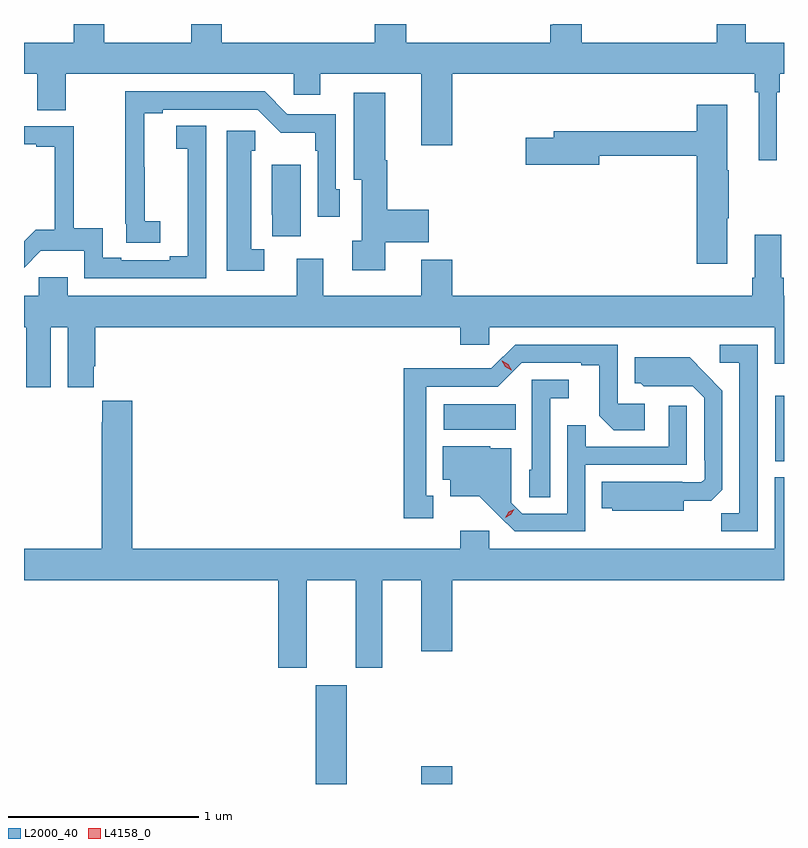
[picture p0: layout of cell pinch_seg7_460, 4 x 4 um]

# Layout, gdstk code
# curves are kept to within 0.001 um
import gdstk
lib = gdstk.Library(unit=1e-6, precision=1e-09)
def R(c, l, rs):  # rectangles x0, y0, x1, y1
    for r in rs: c.add(gdstk.rectangle(r[:2], r[2:], *l))
def P(c, l, *ps):  # polygons
    for p in ps: c.add(gdstk.Polygon(p, *l))
L2000_40 = (2000, 40)
L4158_0 = (4158, 0)

pinch_seg7_460 = lib.new_cell('pinch_seg7_460')
R(pinch_seg7_460, L2000_40, [(176.441,1067.475,176.605,1067.995), (176.996,1067.475,177.16,1067.569), (178.859,1069.175,178.906,1069.519), (177.114,1069.34,177.494,1069.474)])
P(pinch_seg7_460, L2000_40, [(178.753,1071.116),(178.772,1071.116),(178.772,1070.757),(178.869,1070.757),(178.869,1071.116),(178.883,1071.116),(178.883,1071.212),(178.906,1071.212),(178.906,1071.376),(178.704,1071.376),(178.704,1071.475),(178.553,1071.475),(178.553,1071.376),(177.842,1071.376),(177.842,1071.475),(177.689,1071.475),(177.689,1071.472),(177.677,1071.472),(177.677,1071.376),(176.918,1071.376),(176.918,1071.475),(176.753,1071.475),(176.753,1071.376),(175.946,1071.376),(175.946,1071.474),(175.933,1071.474),(175.933,1071.475),(175.786,1071.475),(175.786,1071.376),(175.329,1071.376),(175.329,1071.475),(175.181,1071.475),(175.181,1071.474),(175.169,1071.474),(175.169,1071.376),(174.906,1071.376),(174.906,1071.212),(174.977,1071.212),(174.977,1071.022),(175.125,1071.022),(175.125,1071.212),(176.325,1071.212),(176.325,1071.102),(176.464,1071.102),(176.464,1071.212),(176.996,1071.212),(176.996,1070.838),(177.16,1070.838),(177.16,1071.212),(178.753,1071.212)],
  [(175.624,1070.438),(175.542,1070.438),(175.54,1071.004),(175.636,1071.004),(175.636,1071.024),(176.136,1071.024),(176.257,1070.903),(176.439,1070.903),(176.439,1070.807),(176.451,1070.807),(176.451,1070.46),(176.568,1070.46),(176.568,1070.604),(176.547,1070.604),(176.547,1071),(176.292,1071),(176.172,1071.12),(175.438,1071.12),(175.438,1070.425),(175.444,1070.425),(175.444,1070.323),(175.624,1070.323)],
  [(176.806,1070.327),(177.037,1070.327),(177.037,1070.498),(176.819,1070.498),(176.819,1070.758),(176.806,1070.758),(176.806,1071.112),(176.642,1071.112),(176.642,1070.654),(176.684,1070.654),(176.684,1070.334),(176.634,1070.334),(176.634,1070.178),(176.806,1070.178)],
  [(178.606,1070.452),(178.614,1070.452),(178.614,1070.705),(178.606,1070.705),(178.606,1071.049),(178.448,1071.049),(178.448,1070.911),(177.695,1070.911),(177.695,1070.877),(177.546,1070.877),(177.546,1070.735),(177.934,1070.735),(177.934,1070.782),(178.448,1070.782),(178.448,1070.214),(178.606,1070.214)],
  [(175.866,1070.939),(175.707,1070.939),(175.707,1070.819),(175.768,1070.819),(175.769,1070.252),(175.673,1070.252),(175.673,1070.232),(175.417,1070.232),(175.417,1070.246),(175.32,1070.246),(175.32,1070.399),(175.169,1070.399),(175.169,1070.937),(174.906,1070.937),(174.906,1070.841),(174.971,1070.841),(174.971,1070.829),(175.067,1070.829),(175.067,1070.392),(174.967,1070.392),(174.906,1070.331),(174.906,1070.193),(174.995,1070.282),(175.224,1070.282),(175.224,1070.136),(175.866,1070.136)],
  [(176.17,1070.289),(176.101,1070.289),(176.101,1070.808),(176.123,1070.808),(176.123,1070.914),(175.973,1070.914),(175.973,1070.177),(176.17,1070.177)],
  [(176.362,1070.734),(176.21,1070.734),(176.21,1070.47),(176.213,1070.47),(176.213,1070.358),(176.362,1070.358)],
  [(175.048,1069.88),(175.136,1069.88),(175.136,1069.563),(175.273,1069.563),(175.273,1069.675),(175.28,1069.675),(175.28,1069.88),(177.203,1069.88),(177.203,1069.787),(177.354,1069.787),(177.354,1069.88),(178.856,1069.88),(178.856,1069.686),(178.906,1069.686),(178.906,1070.044),(178.904,1070.044),(178.904,1070.14),(178.891,1070.14),(178.891,1070.365),(178.751,1070.365),(178.751,1070.14),(178.739,1070.14),(178.739,1070.044),(177.16,1070.044),(177.16,1070.233),(176.996,1070.233),(176.996,1070.044),(176.482,1070.044),(176.482,1070.239),(176.342,1070.239),(176.342,1070.044),(175.135,1070.044),(175.135,1070.142),(174.984,1070.142),(174.984,1070.044),(174.906,1070.044),(174.906,1069.88),(174.917,1069.88),(174.917,1069.563),(175.048,1069.563)],
  [(177.061,1068.993),(177.022,1068.993),(177.022,1069.566),(177.399,1069.566),(177.525,1069.692),(177.839,1069.692),(177.839,1069.68),(177.933,1069.68),(177.933,1069.412),(178.009,1069.336),(178.174,1069.336),(178.174,1069.476),(178.032,1069.476),(178.032,1069.788),(177.492,1069.788),(177.366,1069.662),(177.144,1069.662),(177.144,1069.664),(176.904,1069.664),(176.904,1068.873),(177.061,1068.873)],
  [(178.767,1069.788),(178.569,1069.788),(178.569,1069.692),(178.671,1069.692),(178.671,1068.899),(178.576,1068.899),(178.576,1068.804),(178.767,1068.804)],
  [(178.378,1068.965),(178.522,1068.965),(178.581,1069.024),(178.581,1069.546),(178.409,1069.72),(178.121,1069.72),(178.121,1069.584),(178.152,1069.584),(178.168,1069.568),(178.425,1069.569),(178.485,1069.509),(178.485,1069.18),(178.488,1069.18),(178.488,1069.08),(178.47,1069.062),(178.37,1069.062),(178.37,1069.066),(177.946,1069.066),(177.946,1068.926),(178.002,1068.926),(178.002,1068.914),(178.378,1068.914)],
  [(177.675,1069.505),(177.772,1069.505),(177.772,1069.602),(177.579,1069.602),(177.579,1069.128),(177.564,1069.128),(177.564,1068.985),(177.675,1068.985)],
  [(176.395,1068.548),(176.651,1068.548),(176.651,1068.087),(176.791,1068.087),(176.791,1068.548),(176.996,1068.548),(176.996,1068.174),(177.16,1068.174),(177.16,1068.548),(178.906,1068.548),(178.906,1069.09),(178.856,1069.09),(178.856,1068.712),(177.354,1068.712),(177.354,1068.808),(177.203,1068.808),(177.203,1068.712),(175.475,1068.712),(175.475,1069.492),(175.319,1069.492),(175.319,1069.379),(175.315,1069.379),(175.315,1068.712),(174.906,1068.712),(174.906,1068.548),(176.243,1068.548),(176.243,1068.087),(176.395,1068.087)],
  [(177.861,1069.155),(178.395,1069.155),(178.395,1069.465),(178.299,1069.465),(178.299,1069.251),(177.863,1069.251),(177.863,1069.364),(177.765,1069.364),(177.765,1068.897),(177.528,1068.897),(177.471,1068.954),(177.471,1069.243),(177.36,1069.243),(177.36,1069.252),(177.11,1069.252),(177.11,1069.076),(177.149,1069.076),(177.149,1068.989),(177.301,1068.989),(177.488,1068.804),(177.861,1068.804)])
P(pinch_seg7_460, L4158_0, [(177.438,1068.877),(177.438,1068.877),(177.456,1068.907),(177.486,1068.922),(177.486,1068.922),(177.486,1068.922),(177.469,1068.892),(177.439,1068.877)],
  [(177.471,1069.652),(177.439,1069.67),(177.421,1069.702),(177.421,1069.703),(177.422,1069.703),(177.454,1069.684),(177.472,1069.652),(177.472,1069.652)])

lib.write_gds('pinch_seg7_460.gds')
